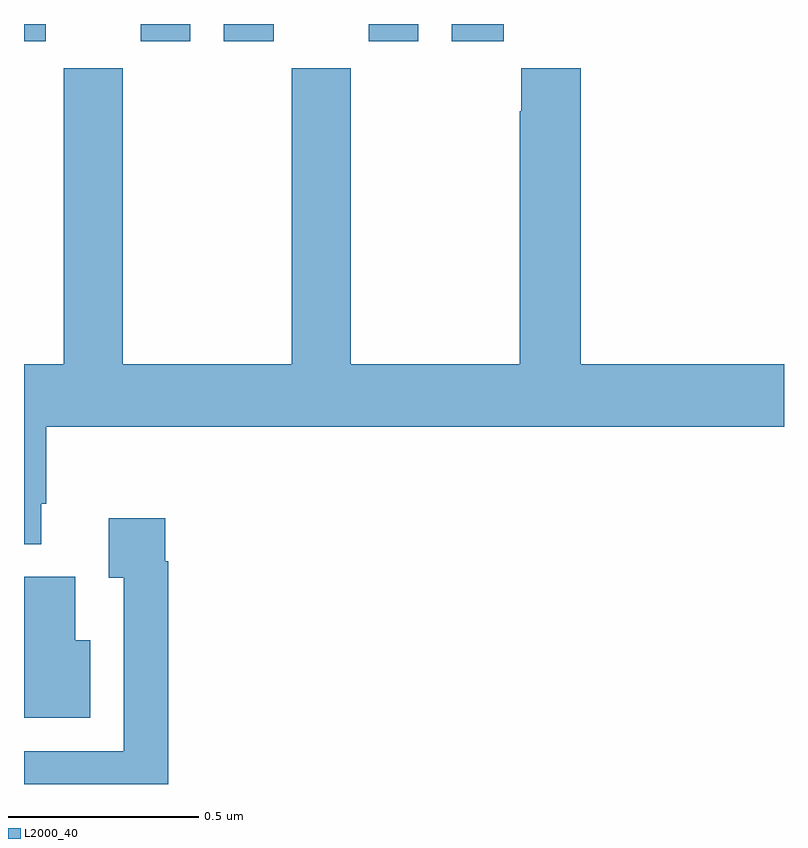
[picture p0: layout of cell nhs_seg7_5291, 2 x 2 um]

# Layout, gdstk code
import gdstk
lib = gdstk.Library(unit=1e-6, precision=1e-09)
def R(c, l, rs):  # rectangles x0, y0, x1, y1
    for r in rs: c.add(gdstk.rectangle(r[:2], r[2:], *l))
def P(c, l, *ps):  # polygons
    for p in ps: c.add(gdstk.Polygon(p, *l))
L2000_40 = (2000, 40)

nhs_seg7_5291 = lib.new_cell('nhs_seg7_5291')
R(nhs_seg7_5291, L2000_40, [(184,1010.955,184.057,1011), (184.307,1010.955,184.438,1011), (184.526,1010.955,184.657,1011), (184.907,1010.955,185.038,1011), (185.126,1010.955,185.263,1011)])
P(nhs_seg7_5291, L2000_40, [(184.045,1009.738),(184.058,1009.738),(184.058,1009.94),(186,1009.94),(186,1010.104),(185.465,1010.104),(185.465,1010.884),(185.309,1010.884),(185.309,1010.771),(185.305,1010.771),(185.305,1010.104),(184.86,1010.104),(184.86,1010.884),(184.705,1010.884),(184.705,1010.104),(184.26,1010.104),(184.26,1010.884),(184.105,1010.884),(184.105,1010.104),(184,1010.104),(184,1009.631),(184.045,1009.631)],
  [(184.379,1009.586),(184.372,1009.586),(184.372,1009.699),(184.223,1009.699),(184.223,1009.543),(184.263,1009.543),(184.263,1009.086),(184,1009.086),(184,1009),(184.379,1009)],
  [(184.174,1009.378),(184.135,1009.378),(184.135,1009.546),(184,1009.546),(184,1009.175),(184.174,1009.175)])

lib.write_gds('nhs_seg7_5291.gds')
